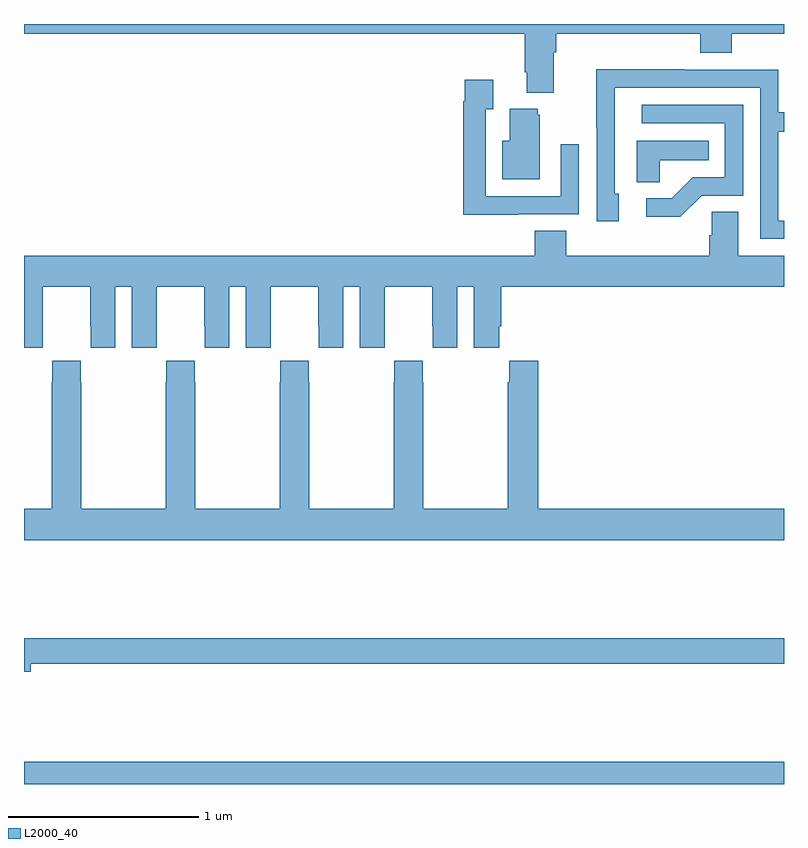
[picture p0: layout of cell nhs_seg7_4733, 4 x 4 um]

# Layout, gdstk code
import gdstk
lib = gdstk.Library(unit=1e-6, precision=1e-09)
def R(c, l, rs):  # rectangles x0, y0, x1, y1
    for r in rs: c.add(gdstk.rectangle(r[:2], r[2:], *l))
def P(c, l, *ps):  # polygons
    for p in ps: c.add(gdstk.Polygon(p, *l))
L2000_40 = (2000, 40)

nhs_seg7_4733 = lib.new_cell('nhs_seg7_4733')
R(nhs_seg7_4733, L2000_40, [(409,998,413,998.116)])
P(nhs_seg7_4733, L2000_40, [(411.787,1001.852),(411.8,1001.852),(411.8,1001.948),(412.559,1001.948),(412.559,1001.849),(412.724,1001.849),(412.724,1001.948),(413,1001.948),(413,1002),(409,1002),(409,1001.948),(411.635,1001.948),(411.635,1001.746),(411.647,1001.746),(411.647,1001.639),(411.787,1001.639)],
  [(413,1000.965),(412.971,1000.965),(412.971,1001.434),(413,1001.434),(413,1001.535),(412.971,1001.535),(412.971,1001.76),(412.475,1001.76),(412.475,1001.762),(412.012,1001.762),(412.012,1001.455),(412.014,1001.455),(412.014,1000.962),(412.129,1000.962),(412.129,1001.106),(412.11,1001.106),(412.11,1001.664),(412.875,1001.664),(412.875,1000.869),(413,1000.869)],
  [(411.605,1000.998),(411.921,1000.998),(411.921,1001.368),(411.825,1001.368),(411.825,1001.094),(411.429,1001.094),(411.429,1001.551),(411.469,1001.551),(411.469,1001.707),(411.321,1001.707),(411.321,1001.594),(411.313,1001.594),(411.313,1000.997),(411.605,1000.997)],
  [(412.566,1001.097),(412.785,1001.097),(412.785,1001.574),(412.251,1001.574),(412.251,1001.478),(412.689,1001.478),(412.689,1001.193),(412.52,1001.193),(412.409,1001.082),(412.275,1001.082),(412.275,1000.985),(412.453,1000.985)],
  [(411.715,1001.523),(411.704,1001.523),(411.704,1001.554),(411.557,1001.554),(411.557,1001.386),(411.518,1001.386),(411.518,1001.183),(411.715,1001.183)],
  [(412.347,1001.282),(412.604,1001.282),(412.604,1001.386),(412.226,1001.386),(412.226,1001.167),(412.347,1001.167)],
  [(409,1000.296),(409.098,1000.296),(409.098,1000.408),(409.099,1000.408),(409.099,1000.616),(409.349,1000.616),(409.349,1000.408),(409.35,1000.408),(409.35,1000.296),(409.48,1000.296),(409.48,1000.616),(409.568,1000.616),(409.568,1000.296),(409.698,1000.296),(409.698,1000.408),(409.699,1000.408),(409.699,1000.616),(409.949,1000.616),(409.949,1000.408),(409.95,1000.408),(409.95,1000.296),(410.08,1000.296),(410.08,1000.616),(410.168,1000.616),(410.168,1000.296),(410.298,1000.296),(410.298,1000.408),(410.299,1000.408),(410.299,1000.616),(410.549,1000.616),(410.549,1000.408),(410.55,1000.408),(410.55,1000.296),(410.68,1000.296),(410.68,1000.616),(410.768,1000.616),(410.768,1000.296),(410.898,1000.296),(410.898,1000.408),(410.899,1000.408),(410.899,1000.616),(411.149,1000.616),(411.149,1000.408),(411.15,1000.408),(411.15,1000.296),(411.28,1000.296),(411.28,1000.616),(411.368,1000.616),(411.368,1000.296),(411.502,1000.296),(411.502,1000.408),(411.512,1000.408),(411.512,1000.616),(413,1000.616),(413,1000.78),(412.759,1000.78),(412.759,1001.012),(412.62,1001.012),(412.62,1000.889),(412.607,1000.889),(412.607,1000.78),(411.854,1000.78),(411.854,1000.913),(411.689,1000.913),(411.689,1000.78),(409,1000.78)],
  [(413,999.448),(411.707,999.448),(411.707,1000.228),(411.553,1000.228),(411.553,1000.115),(411.547,1000.115),(411.547,999.448),(411.102,999.448),(411.102,1000.115),(411.099,1000.115),(411.099,1000.228),(410.949,1000.228),(410.949,1000.115),(410.947,1000.115),(410.947,999.448),(410.502,999.448),(410.502,1000.115),(410.499,1000.115),(410.499,1000.228),(410.349,1000.228),(410.349,1000.115),(410.347,1000.115),(410.347,999.448),(409.902,999.448),(409.902,1000.115),(409.899,1000.115),(409.899,1000.228),(409.749,1000.228),(409.749,1000.115),(409.747,1000.115),(409.747,999.448),(409.302,999.448),(409.302,1000.115),(409.299,1000.115),(409.299,1000.228),(409.149,1000.228),(409.149,1000.115),(409.147,1000.115),(409.147,999.448),(409,999.448),(409,999.284),(413,999.284)],
  [(409.036,998.632),(413,998.632),(413,998.768),(409,998.768),(409,998.59),(409.036,998.59)])

lib.write_gds('nhs_seg7_4733.gds')
